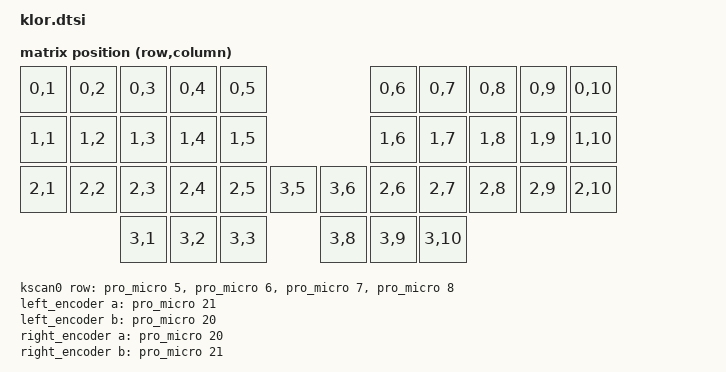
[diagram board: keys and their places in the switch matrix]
/*
 * Copyright (c) 2022 The ZMK Contributors
 *
 * SPDX-License-Identifier: MIT
 */

#include "klor_common.dtsi"

/ {
	chosen {
		zmk,matrix_transform = &default_transform;
	};

	/* Saegewerk layout (38 keys): the KLOR PCB matrix is shared across all
	 * four break-off layouts (Polydactyl/Konrad/Yubitsume/Saegewerk); Saegewerk
	 * simply leaves the outer pinky column unpopulated on rows 1-2 and drops the
	 * two innermost thumb keys, compared to the full Polydactyl matrix. Derived
	 * from the LAYOUT_saegewerk() matrix macro in the upstream QMK config
	 * (github.com/GEIGEIGEIST/qmk-config-klor, klor/klor.h) so the row/col
	 * positions line up with the real PCB wiring.
	 */
	default_transform: keymap_transform_0 {
		compatible = "zmk,matrix-transform";
		columns = <12>;
		rows = <4>;
		map = <
        RC(0,1) RC(0,2) RC(0,3) RC(0,4) RC(0,5)                 RC(0,6) RC(0,7) RC(0,8) RC(0,9) RC(0,10)
        RC(1,1) RC(1,2) RC(1,3) RC(1,4) RC(1,5)                 RC(1,6) RC(1,7) RC(1,8) RC(1,9) RC(1,10)
        RC(2,1) RC(2,2) RC(2,3) RC(2,4) RC(2,5) RC(3,5) RC(3,6) RC(2,6) RC(2,7) RC(2,8) RC(2,9) RC(2,10)
                        RC(3,1) RC(3,2) RC(3,3)         RC(3,8) RC(3,9) RC(3,10)
		>;
	};
};

&kscan0 {
	row-gpios
		= <&pro_micro 5 (GPIO_ACTIVE_HIGH | GPIO_PULL_DOWN)>
		, <&pro_micro 6 (GPIO_ACTIVE_HIGH | GPIO_PULL_DOWN)>
		, <&pro_micro 7 (GPIO_ACTIVE_HIGH | GPIO_PULL_DOWN)>
		, <&pro_micro 8 (GPIO_ACTIVE_HIGH | GPIO_PULL_DOWN)>
		;
};

&left_encoder {
	a-gpios = <&pro_micro 21 (GPIO_ACTIVE_HIGH | GPIO_PULL_UP)>;
	b-gpios = <&pro_micro 20 (GPIO_ACTIVE_HIGH | GPIO_PULL_UP)>;
};

&right_encoder {
	a-gpios = <&pro_micro 20 (GPIO_ACTIVE_HIGH | GPIO_PULL_UP)>;
	b-gpios = <&pro_micro 21 (GPIO_ACTIVE_HIGH | GPIO_PULL_UP)>;
};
